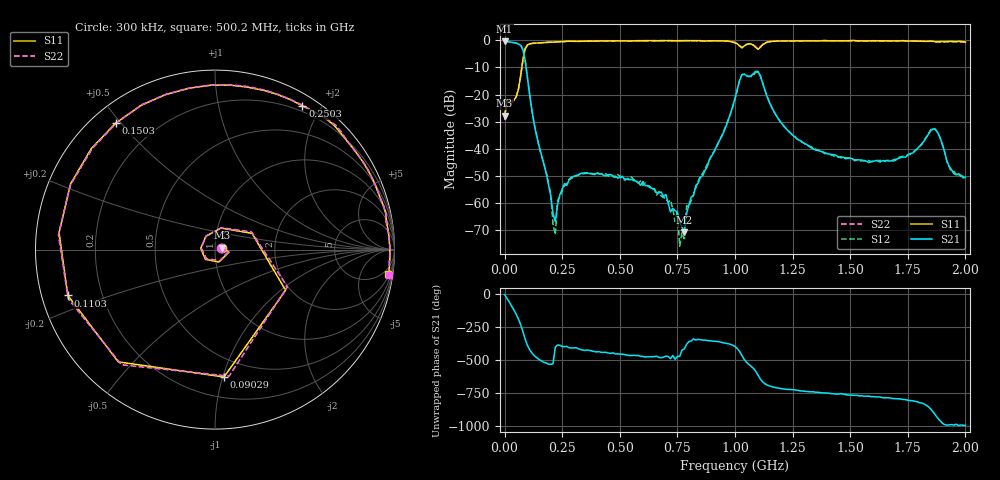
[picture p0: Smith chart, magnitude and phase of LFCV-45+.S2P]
! Mini-Circuits
! S2P DATA File Format
! Type: Low Pass LTCC Surface Mount Filter
! Model: LFCV-45+
! Note: All S Parameters are in dB deg format
! TEST CONDITIONS: INPUT POWER = 0dBm @Temperature = +25degC
! 401 Frequency points
# Hz S dB R 50
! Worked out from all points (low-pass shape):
!   201 points, 300 kHz to 2 GHz, reference 50 ohm
!   highest |S21| = -0.35 dB at 300 kHz (marker M1); lowest = -70.7 dB at 780.2 MHz (marker M2)
!   |S21| within 3 dB of the highest: start of sweep to 79.04 MHz
!   lowest |S11| = -27.8 dB at 300 kHz (marker M3), VSWR 1.08, Z = 54.1 + j1.1 ohm
!   |S11| at or under -10 dB: start of sweep to 75.13 MHz
!   |S22| runs from -29.4 to -0.1 dB; largest |S21 - S12| = 0.017
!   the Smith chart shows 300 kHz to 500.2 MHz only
!   S11 on the Smith chart (normalised r, x): 300 kHz: 1.08, +0.02; 90.29 MHz: 0.35, -1.01; 110.3 MHz: 0.08, -0.15; 150.3 MHz: 0.07, +0.48; 250.3 MHz: 0.13, +1.77; 500.2 MHz: 2, -14
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300000  -27.80 14.4  -0.35 -1.3  -0.28 -0.7  -29.41 10.7
3.02955e7  -22.35 -134.7  -0.72 -86.6  -0.70 -86.5  -23.19 -133.3
6.0291e7  -18.09 74.4  -1.36 172.1  -1.36 172.2  -17.96 74.3
8.0288e7  -6.86 -29.9  -3.56 73.7  -3.55 73.5  -6.87 -27.2
9.02865e7  -2.96 -86.0  -7.90 15.3  -7.85 15.3  -2.98 -83.6
1.102835e8  -1.32 -162.7  -20.86 -64.2  -20.85 -64.7  -1.28 -161.5
1.502775e8  -0.96 128.2  -39.12 -135.8  -39.22 -136.6  -0.96 127.3
2.20267e8  -0.65 73.2  -66.76 -41.9  -71.64 -64.8  -0.63 73.0
2.302655e8  -0.61 68.0  -60.52 -24.7  -59.00 -48.9  -0.59 67.7
2.502625e8  -0.56 58.7  -54.80 -37.1  -55.59 -40.1  -0.53 58.6
3.40249e8  -0.36 27.6  -48.88 -64.0  -49.25 -59.9  -0.33 27.2
5.00225e8  -0.21 -8.0  -50.60 -93.4  -49.96 -95.4  -0.20 -8.3
6.701995e8  -0.18 -35.8  -56.19 -119.2  -55.72 -123.3  -0.17 -36.2
7.80183e8  -0.20 -51.7  -70.68 -55.0  -73.14 -55.9  -0.13 -52.3
7.901815e8  -0.22 -53.3  -63.86 -19.4  -60.97 -1.0  -0.16 -53.8
1.00015e9  -0.93 -88.8  -21.34 -36.6  -21.61 -34.2  -0.82 -89.8
1.100135e9  -3.34 -86.5  -11.49 106.0  -11.60 105.0  -3.05 -87.1
1.190122e9  -0.29 -95.5  -29.18 7.0  -29.20 7.2  -0.28 -96.4
1.340099e9  -0.23 -116.5  -40.00 -20.9  -39.70 -23.3  -0.24 -117.3
1.67005e9  -0.25 -155.9  -44.51 -67.2  -44.19 -70.5  -0.30 -157.1
1.860021e9  -0.42 179.8  -32.61 -173.8  -32.33 -174.7  -0.45 178.2
2e9  -0.65 157.8  -50.43 83.4  -50.08 76.8  -0.72 156.8
